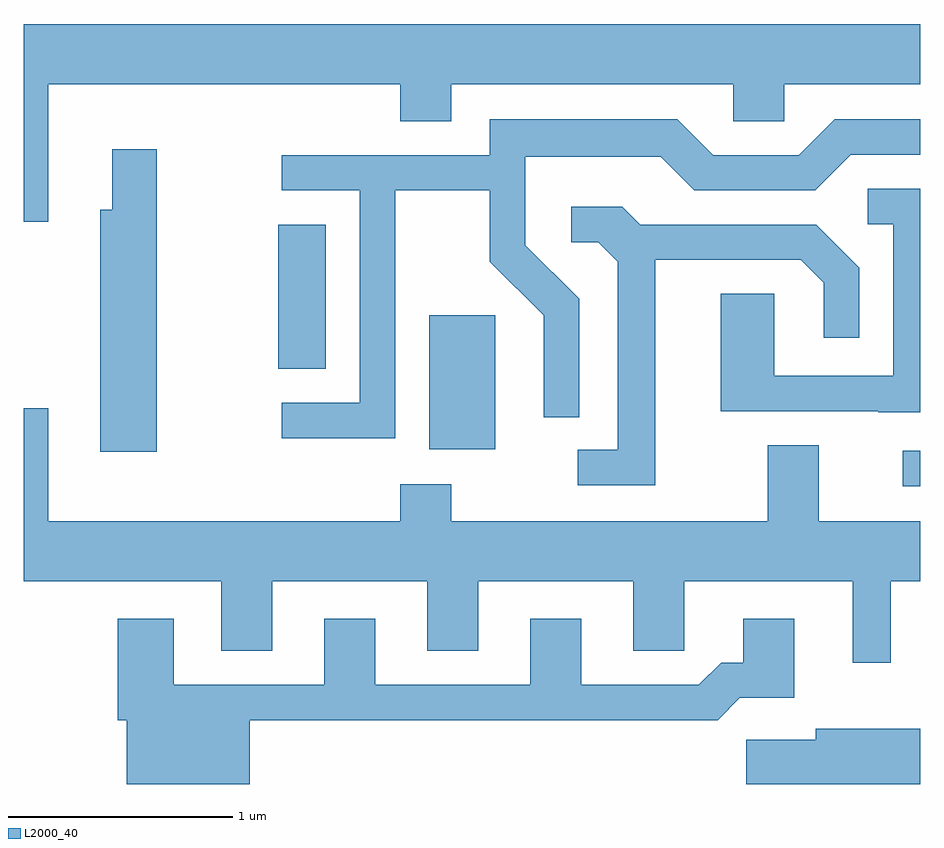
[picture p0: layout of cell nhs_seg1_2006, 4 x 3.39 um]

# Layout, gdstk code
import gdstk
lib = gdstk.Library(unit=1e-6, precision=1e-09)
def R(c, l, rs):  # rectangles x0, y0, x1, y1
    for r in rs: c.add(gdstk.rectangle(r[:2], r[2:], *l))
def P(c, l, *ps):  # polygons
    for p in ps: c.add(gdstk.Polygon(p, *l))
L2000_40 = (2000, 40)

nhs_seg1_2006 = lib.new_cell('nhs_seg1_2006')
R(nhs_seg1_2006, L2000_40, [(249.533,971.041,249.611,971.199), (247.421,971.206,247.714,971.804), (246.746,971.566,246.959,972.209)])
P(nhs_seg1_2006, L2000_40, [(245.719,972.836),(247.291,972.836),(247.291,972.671),(247.519,972.671),(247.519,972.836),(248.776,972.836),(248.776,972.671),(249.004,972.671),(249.004,972.836),(249.611,972.836),(249.611,973.104),(245.611,973.104),(245.611,972.221),(245.719,972.221)],
  [(247.269,972.361),(247.691,972.361),(247.691,972.044),(247.931,971.804),(247.931,971.348),(248.089,971.348),(248.089,971.877),(247.849,972.117),(247.849,972.511),(248.454,972.511),(248.604,972.361),(249.142,972.361),(249.302,972.521),(249.611,972.521),(249.611,972.679),(249.229,972.679),(249.069,972.519),(248.687,972.519),(248.527,972.679),(247.691,972.679),(247.691,972.519),(246.763,972.519),(246.763,972.361),(247.111,972.361),(247.111,971.414),(246.763,971.414),(246.763,971.256),(247.269,971.256)],
  [(246.204,972.544),(246.006,972.544),(246.006,972.274),(245.951,972.274),(245.951,971.196),(246.204,971.196)],
  [(249.611,972.369),(249.378,972.369),(249.378,972.211),(249.491,972.211),(249.491,971.534),(248.959,971.534),(248.959,971.899),(248.721,971.899),(248.721,971.376),(249.425,971.376),(249.425,971.371),(249.611,971.371)],
  [(248.429,972.051),(249.079,972.051),(249.181,971.949),(249.181,971.703),(249.339,971.703),(249.339,972.017),(249.147,972.209),(248.362,972.209),(248.282,972.289),(248.053,972.289),(248.053,972.131),(248.174,972.131),(248.261,972.044),(248.261,971.204),(248.083,971.204),(248.083,971.046),(248.429,971.046)],
  [(245.719,971.389),(245.611,971.389),(245.611,970.616),(246.491,970.616),(246.491,970.306),(246.719,970.306),(246.719,970.616),(247.411,970.616),(247.411,970.306),(247.639,970.306),(247.639,970.616),(248.331,970.616),(248.331,970.306),(248.559,970.306),(248.559,970.616),(249.311,970.616),(249.311,970.253),(249.479,970.253),(249.479,970.616),(249.611,970.616),(249.611,970.884),(249.159,970.884),(249.159,971.224),(248.931,971.224),(248.931,970.884),(247.519,970.884),(247.519,971.049),(247.291,971.049),(247.291,970.884),(245.719,970.884)],
  [(246.619,969.996),(248.707,969.996),(248.807,970.096),(249.049,970.096),(249.049,970.449),(248.821,970.449),(248.821,970.254),(248.724,970.254),(248.624,970.154),(248.099,970.154),(248.099,970.449),(247.871,970.449),(247.871,970.154),(247.179,970.154),(247.179,970.449),(246.951,970.449),(246.951,970.154),(246.279,970.154),(246.279,970.449),(246.031,970.449),(246.031,969.996),(246.071,969.996),(246.071,969.712),(246.619,969.712)],
  [(249.611,969.959),(249.146,969.959),(249.146,969.909),(248.836,969.909),(248.836,969.712),(249.611,969.712)])

lib.write_gds('nhs_seg1_2006.gds')
